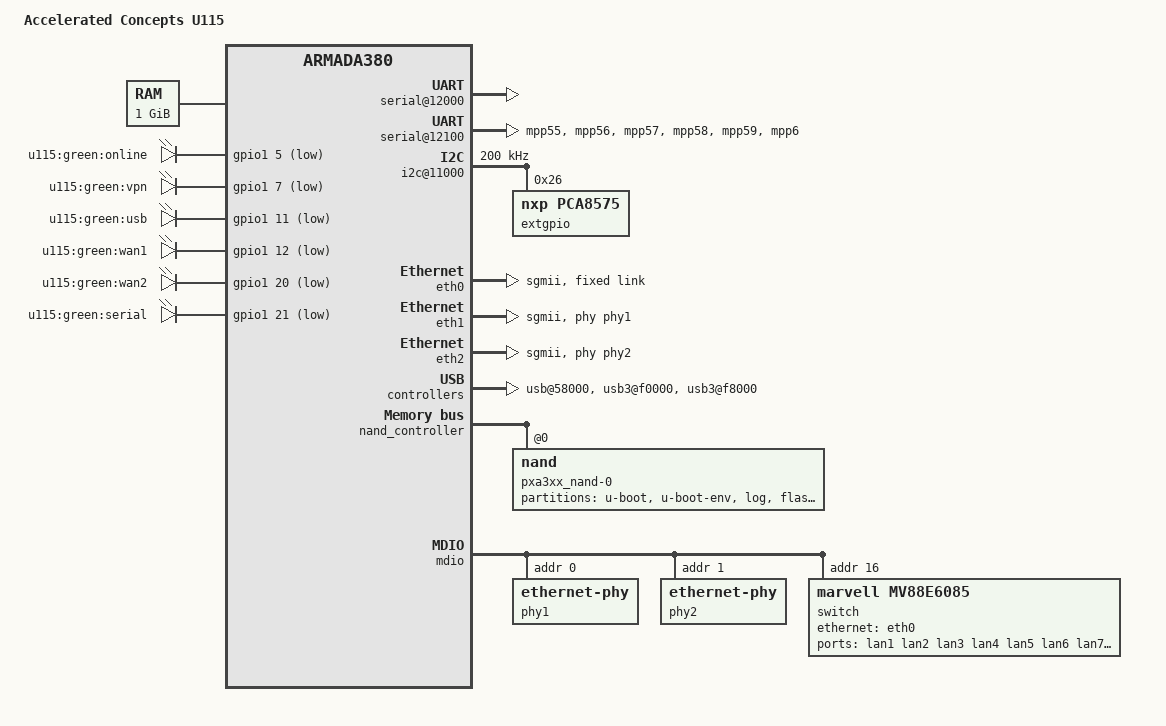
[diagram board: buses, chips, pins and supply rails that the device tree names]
/*
 * armada-380-u115.dts -- device tree for Accelerated Concepts U115
 *
 *  Copyright (C) 2014 Marvell
 *  Copyright (C) 2018 Accelerated Concepts Pty Ltd
 *
 * This file is dual-licensed: you can use it either under the terms
 * of the GPL or the X11 license, at your option. Note that this dual
 * licensing only applies to this file, and not this project as a
 * whole.
 *
 *  a) This file is free software; you can redistribute it and/or
 *     modify it under the terms of the GNU General Public License as
 *     published by the Free Software Foundation; either version 2 of the
 *     License, or (at your option) any later version.
 *
 *     This file is distributed in the hope that it will be useful
 *     but WITHOUT ANY WARRANTY; without even the implied warranty of
 *     MERCHANTABILITY or FITNESS FOR A PARTICULAR PURPOSE.  See the
 *     GNU General Public License for more details.
 *
 * Or, alternatively
 *
 *  b) Permission is hereby granted, free of charge, to any person
 *     obtaining a copy of this software and associated documentation
 *     files (the "Software"), to deal in the Software without
 *     restriction, including without limitation the rights to use
 *     copy, modify, merge, publish, distribute, sublicense, and/or
 *     sell copies of the Software, and to permit persons to whom the
 *     Software is furnished to do so, subject to the following
 *     conditions:
 *
 *     The above copyright notice and this permission notice shall be
 *     included in all copies or substantial portions of the Software.
 *
 *     THE SOFTWARE IS PROVIDED , WITHOUT WARRANTY OF ANY KIND
 *     EXPRESS OR IMPLIED, INCLUDING BUT NOT LIMITED TO THE WARRANTIES
 *     OF MERCHANTABILITY, FITNESS FOR A PARTICULAR PURPOSE AND
 *     NONINFRINGEMENT. IN NO EVENT SHALL THE AUTHORS OR COPYRIGHT
 *     HOLDERS BE LIABLE FOR ANY CLAIM, DAMAGES OR OTHER LIABILITY
 *     WHETHER IN AN ACTION OF CONTRACT, TORT OR OTHERWISE, ARISING
 *     FROM, OUT OF OR IN CONNECTION WITH THE SOFTWARE OR THE USE OR
 *     OTHER DEALINGS IN THE SOFTWARE.
 */

/dts-v1/;
#include "armada-388.dtsi"
#include <dt-bindings/gpio/gpio.h>

/ {
	model = "Accelerated Concepts U115";
	compatible = "accelerated,u115", "marvell,armada388",
		"marvell,armada385", "marvell,armada380";

	chosen {
		stdout-path = "serial0:115200n8";
	};

	memory {
		device_type = "memory";
		reg = <0x00000000 0x40000000>; /* 1GB */
	};

	soc {
		ranges = <MBUS_ID(0xf0, 0x01) 0 0xf1000000 0x100000
			  MBUS_ID(0x01, 0x1d) 0 0xfff00000 0x100000
			  MBUS_ID(0x09, 0x19) 0 0xf1100000 0x10000
			  MBUS_ID(0x09, 0x15) 0 0xf1110000 0x10000>;

		internal-regs {

			serial@12000 {
				status = "okay";
			};

			serial@12100 {
				status = "okay";
				pinctrl-0 = <&uart1_full_pins &uart1_dtr_pin &uart1_dcd_pin>;
				pinctrl-names = "default";
				dtr-gpios = <&gpio1 27 GPIO_ACTIVE_LOW>;
				dcd-gpios = <&gpio0 6 GPIO_ACTIVE_LOW>;
			};

			i2c@11000 {
				status = "okay";
				pinctrl-0 = <&i2c0_pins>;
				pinctrl-names = "default";
				clock-frequency = <200000>;

				extgpio: pca8575@26 {
					compatible = "nxp,pca8575";
					reg = <0x26>;
					gpio-controller;
					#gpio-cells = <2>;
				};
			};

			eth0: ethernet@70000 {
				status = "okay";
				phy-mode = "sgmii";
				fixed-link {
					speed = <1000>;
					full-duplex;
				};
			};

			eth1: ethernet@30000 {
				status = "okay";
				phy = <&phy1>;
				phy-mode = "sgmii";
			};

			eth2: ethernet@34000 {
				status = "okay";
				phy = <&phy2>;
				phy-mode = "sgmii";
			};

			usb@58000 {
				status = "okay";
			};

			usb3@f0000 {
				status = "okay";
			};

			usb3@f8000 {
				status = "okay";
			};

			gpio_leds {
				compatible = "gpio-leds";
				pinctrl-names = "default";
				pinctrl-0 = <&online_led_pin>;

				green_online_led {
					label = "u115:green:online";
					gpios = <&gpio1 5 1>;
					linux,default-trigger = "online";
				};

				green_vpn_led {
					label = "u115:green:vpn";
					gpios = <&gpio1 7 1>;
					linux,default-trigger = "vpn";
				};

				green_usb_led {
					label = "u115:green:usb";
					gpios = <&gpio1 11 1>;
					linux,default-trigger = "usb";
				};

				green_wan1_led {
					label = "u115:green:wan1";
					gpios = <&gpio1 12 1>;
					linux,default-trigger = "wan1";
				};

				green_wan2_led {
					label = "u115:green:wan2";
					gpios = <&gpio1 20 1>;
					linux,default-trigger = "wan2";
				};

				green_serial_led {
					label = "u115:green:serial";
					gpios = <&gpio1 21 1>;
					linux,default-trigger = "serial";
				};
			};
		};
	};
};

&nand_controller {
	status = "okay";

	nand@0 {
		reg = <0>;
		label = "pxa3xx_nand-0";
		nand-rb = <0>;
		nand-on-flash-bbt;
		nand-ecc-strength = <4>;
		nand-ecc-step-size = <512>;

		partitions {
			compatible = "fixed-partitions";
			#address-cells = <1>;
			#size-cells = <1>;

			partition@0 {
				label = "u-boot";
				reg = <0x00000000 0x00200000>;
			};
			partition@1 {
				label = "u-boot-env";
				reg = <0x00200000 0x00100000>;
			};
			partition@2 {
				label = "log";
				reg = <0x00300000 0x00200000>;
			};
			partition@3 {
				label = "flash";
				reg = <0x00500000 0>;
			};
			partition@4 {
				label = "all";
				reg = <0x00000000 0>;
			};
		};
	};
};

&pinctrl {
	online_led_pin: online-led-pin {
		marvell,pins = "mpp37";
		marvell,function = "gpio";
	};

	vpn_led_pin: vpn-led-pin {
		marvell,pins = "mpp39";
		marvell,function = "gpio";
	};

	usb3_led_pin: usb-led-pin {
		marvell,pins = "mpp43";
		marvell,function = "gpio";
	};

	wan1_led_pin: wan1-led-pin {
		marvell,pins = "mpp44";
		marvell,function = "gpio";
	};

	wan2_led_pin: wan2-led-pin {
		marvell,pins = "mpp52";
		marvell,function = "gpio";
	};

	serial_led_pin: serial-led-pin {
		marvell,pins = "mpp53";
		marvell,function = "gpio";
	};

	uart1_full_pins: uart1-full-pins {
		marvell,pins = "mpp55", "mpp56", "mpp57", "mpp58";
		marvell,function = "ua1";
	};

	uart1_dtr_pin: uart1-dtr-pin {
		marvell,pins = "mpp59";
		marvell,function = "gpio";
	};

	uart1_dcd_pin: uart1-dcd-pin {
		marvell,pins = "mpp6";
		marvell,function = "gpio";
	};

};

&mdio {
	status = "okay";
	pinctrl-0 = <&mdio_pins>;
	pinctrl-names = "default";

	phy1: ethernet-phy@0 {
		status = "okay";
		reg = <0>;
	};

	phy2: ethernet-phy@1 {
		status = "okay";
		reg = <1>;
	};

	switch@10 {
		compatible = "marvell,mv88e6085";
		#address-cells = <1>;
		#size-cells = <0>;
		reg = <0x10>;
		dsa,member = <0 0>;

		ports {
			#address-cells = <1>;
			#size-cells = <0>;

			port@1 {
				reg = <1>;
				label = "lan1";
			};
			port@2 {
				reg = <2>;
				label = "lan2";
			};
			port@3 {
				reg = <3>;
				label = "lan3";
			};
			port@4 {
				reg = <4>;
				label = "lan4";
			};
			port@5 {
				reg = <5>;
				label = "lan5";
			};
			port@6 {
				reg = <6>;
				label = "lan6";
			};
			port@7 {
				reg = <7>;
				label = "lan7";
			};
			port@8 {
				reg = <8>;
				label = "lan8";
			};
			port@9 {
				reg = <9>;
				label = "cpu";
				ethernet = <&eth0>;
				phy-mode = "sgmii";
				fixed-link {
					speed = <1000>;
					full-duplex;
				};
			};
		};
	};
};
